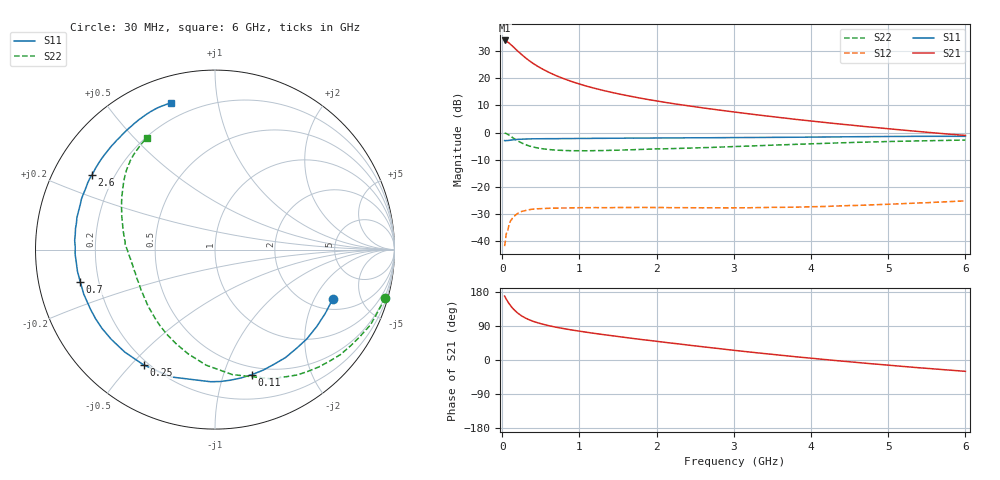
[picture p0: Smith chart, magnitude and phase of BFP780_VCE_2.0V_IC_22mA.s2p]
! Infineon Technologies  Discrete & RF Semiconductors
! BFP780
! VCE =  2.0 V,  IC =  22 mA
! Common Emitter S-Parameters:  Jul 2015
# GHz  S  MA  R  50
!  f  S11  S21  S12  S22
! GHz  MAG  ANG  MAG  ANG  MAG  ANG  MAG  ANG
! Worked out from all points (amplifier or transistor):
!   75 points, 30 MHz to 6 GHz, reference 50 ohm
!   highest |S21| = 33.8 dB at 30 MHz (marker M1)
!   |S21| within 3 dB of that: start of sweep to 166.8 MHz
!   unconditionally stable (mu >= 1): 2.357 GHz to end of sweep
!   at 150 MHz: K = 0.08, MSG = 31.0 dB, |S12| = -30.8 dB
!   at 2.3 GHz: K = 0.98, MSG = 18.9 dB, |S12| = -27.6 dB
!   at 6 GHz: K = 1.52, MAG = 7.8 dB, |S12| = -25.1 dB
!   S11 on the Smith chart (normalised r, x): 30 MHz: 2.53, -2.84; 110 MHz: 0.42, -1.25; 250 MHz: 0.18, -0.54; 700 MHz: 0.13, -0.12; 2.6 GHz: 0.12, +0.27; 6 GHz: 0.12, +0.74
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0.03  0.7116 -22.9  49.09 168.7  0.0082 72.1  0.9867 -15.7
0.05  0.7107 -37.2  47.81 161.1  0.0135 71.3  0.9624 -25.8
0.07  0.7134 -50.3  45.89 154.5  0.0154 67.3  0.9268 -35.2
0.09  0.7186 -62.8  43.68 148.2  0.0207 58.0  0.8903 -44.4
0.11  0.7263 -73.4  41.18 142.6  0.0245 54.3  0.8533 -52.7
0.15  0.7365 -92.0  36.62 133.1  0.0288 47.0  0.7797 -67.2
0.2  0.7502 -108.9  31.33 123.8  0.0328 38.3  0.703 -82.1
0.25  0.7557 -121.7  27.11 116.4  0.0356 32.3  0.646 -94.3
0.3  0.7607 -131.4  23.6 110.7  0.037 27.5  0.6001 -104.4
0.35  0.7641 -139.1  20.82 106.0  0.0384 24.6  0.5666 -112.7
0.4  0.7676 -145.1  18.58 102.1  0.0393 21.8  0.5425 -119.7
0.5  0.7692 -154.4  15.21 95.8  0.0401 17.5  0.5083 -130.9
0.7  0.7718 -166.6  11.05 86.4  0.041 12.8  0.4749 -146.2
0.9  0.7761 -174.8  8.637 79.2  0.0414 10.0  0.4636 -156.3
1.1  0.779 178.9  7.058 73.0  0.0417 8.0  0.4627 -163.7
1.5  0.7859 169.2  5.153 62.0  0.042 6.0  0.4743 -174.1
2.1  0.7962 157.5  3.604 46.8  0.042 3.9  0.5027 175.0
2.6  0.8025 148.9  2.836 34.9  0.0415 3.7  0.5279 166.6
3.1  0.8102 140.8  2.293 23.4  0.0416 4.5  0.5591 158.5
4.1  0.827 126.5  1.575 2.8  0.0437 7.0  0.6276 144.4
5.1  0.8484 115.0  1.141 -15.4  0.0489 8.5  0.6889 132.3
6  0.8536 106.7  0.885 -29.9  0.0557 6.8  0.7282 121.6
